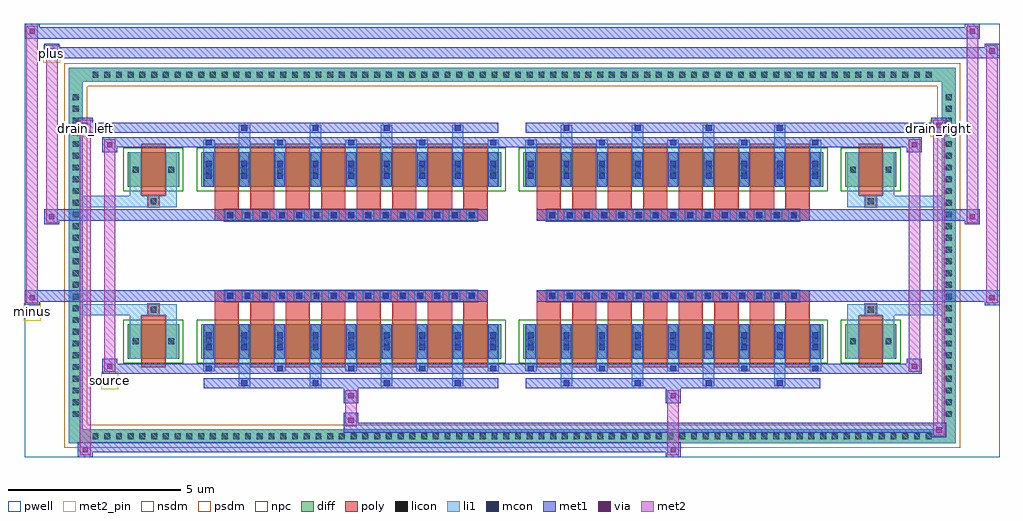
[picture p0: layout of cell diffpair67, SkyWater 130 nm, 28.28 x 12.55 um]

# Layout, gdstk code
import gdstk
lib = gdstk.Library(unit=1e-6, precision=5e-09)
def R(c, l, rs):  # rectangles x0, y0, x1, y1
    for r in rs: c.add(gdstk.rectangle(r[:2], r[2:], *l))
def A(c, l, x, y, w, h, nx, ny, dx, dy):  # array of equal rectangles
    R(c, l, [(x+i*dx, y+j*dy, x+i*dx+w, y+j*dy+h) for i in range(nx) for j in range(ny)])
def P(c, l, *ps):  # polygons
    for p in ps: c.add(gdstk.Polygon(p, *l))
pwell = (64, 44)
diff = (65, 20)
poly = (66, 20)
licon = (66, 44)
li1 = (67, 20)
mcon = (67, 44)
met1 = (68, 20)
via = (68, 44)
met2_pin = (69, 16)
met2 = (69, 20)
nsdm = (93, 44)
psdm = (94, 20)
npc = (95, 20)

diffpair67 = lib.new_cell('diffpair67')
R(diffpair67, pwell, [(-14.12,-5.84,14.12,6.71), (-11.44,-4.03,-0.01,-0.805), (0.01,-4.03,11.44,-0.805), (-11.44,0.805,-0.01,4.03), (0.01,0.805,11.44,4.03)])
A(diffpair67, diff, -12.275, -5.44, 0.41, 0.41, 72, 2, 0.34, 10.47)
A(diffpair67, diff, -12.85, -4.795, 0.41, 0.41, 1, 28, 0, 0.34)
A(diffpair67, diff, 12.44, -4.795, 0.41, 0.41, 1, 28, 0, 0.34)
R(diffpair67, diff, [(-12.275,-5.44,12.275,-5.03), (-12.85,-4.795,-12.44,4.795), (12.44,-4.795,12.85,4.795), (-11.13,-2.985,-9.65,-1.985), (-9.01,-2.985,-0.32,-1.985), (0.32,-2.985,9.01,-1.985), (9.65,-2.985,11.13,-1.985), (-11.13,1.985,-9.65,2.985), (-9.01,1.985,-0.32,2.985), (0.32,1.985,9.01,2.985), (9.65,1.985,11.13,2.985), (-12.275,5.03,12.275,5.44)])
P(diffpair67, diff, [(12.85,5.44),(-12.85,5.44),(-12.85,-5.03),(-12.44,-5.03),(-12.44,5.03),(12.44,5.03),(12.44,-5.03),(-12.44,-5.03),(-12.85,-5.03),(-12.85,-5.44),(12.85,-5.44)])
A(diffpair67, poly, -8.62, -3.235, 0.7, 1.5, 8, 2, 1.03, 4.97)
A(diffpair67, poly, 0.71, -3.235, 0.7, 1.5, 8, 2, 1.03, 4.97)
A(diffpair67, poly, -8.62, -1.735, 0.7, 0.4, 8, 2, 1.03, 3.07)
A(diffpair67, poly, 0.71, -1.735, 0.7, 0.4, 8, 2, 1.03, 3.07)
A(diffpair67, poly, -8.33, -1.335, 0.33, 0.33, 15, 2, 0.5, 2.34)
A(diffpair67, poly, 1, -1.335, 0.33, 0.33, 15, 2, 0.5, 2.34)
R(diffpair67, poly, [(-10.74,-3.235,-10.04,-1.735), (10.04,-3.235,10.74,-1.735), (-10.555,-1.735,-10.225,-1.405), (-10.555,-1.735,-10.225,-1.405), (10.225,-1.735,10.555,-1.405), (10.225,-1.735,10.555,-1.405), (-8.62,-1.335,-0.71,-1.005), (0.71,-1.335,8.62,-1.005), (-8.62,1.005,-0.71,1.335), (0.71,1.005,8.62,1.335), (-10.555,1.405,-10.225,1.735), (-10.555,1.405,-10.225,1.735), (10.225,1.405,10.555,1.735), (10.225,1.405,10.555,1.735), (-10.74,1.735,-10.04,3.235), (10.04,1.735,10.74,3.235)])
A(diffpair67, licon, -12.155, -5.32, 0.17, 0.17, 72, 2, 0.34, 10.47)
A(diffpair67, licon, -12.73, -4.675, 0.17, 0.17, 1, 28, 0, 0.34)
A(diffpair67, licon, 12.56, -4.675, 0.17, 0.17, 1, 28, 0, 0.34)
A(diffpair67, licon, -8.87, -2.57, 0.17, 0.17, 9, 2, 1.03, 4.97)
A(diffpair67, licon, 0.46, -2.57, 0.17, 0.17, 9, 2, 1.03, 4.97)
A(diffpair67, licon, -8.25, -1.255, 0.17, 0.17, 15, 2, 0.5, 2.34)
A(diffpair67, licon, 1.08, -1.255, 0.17, 0.17, 15, 2, 0.5, 2.34)
R(diffpair67, licon, [(-10.99,-2.57,-10.82,-2.4), (-9.96,-2.57,-9.79,-2.4), (9.79,-2.57,9.96,-2.4), (10.82,-2.57,10.99,-2.4), (-10.475,-1.655,-10.305,-1.485), (10.305,-1.655,10.475,-1.485), (-10.475,1.485,-10.305,1.655), (10.305,1.485,10.475,1.655), (-10.99,2.4,-10.82,2.57), (-9.96,2.4,-9.79,2.57), (9.79,2.4,9.96,2.57), (10.82,2.4,10.99,2.57)])
A(diffpair67, li1, -12.235, -5.4, 0.33, 0.33, 72, 2, 0.34, 10.47)
A(diffpair67, li1, -12.81, -4.755, 0.33, 0.33, 1, 28, 0, 0.34)
A(diffpair67, li1, 12.48, -4.755, 0.33, 0.33, 1, 28, 0, 0.34)
A(diffpair67, li1, -7.92, -3.79, 0.33, 0.805, 4, 2, 2.06, 6.775)
A(diffpair67, li1, -7.84, -3.79, 0.17, 0.17, 4, 2, 2.06, 7.41)
A(diffpair67, li1, 1.41, -3.79, 0.33, 0.805, 4, 2, 2.06, 6.775)
A(diffpair67, li1, 1.49, -3.79, 0.17, 0.17, 4, 2, 2.06, 7.41)
A(diffpair67, li1, -8.95, -3.36, 0.33, 0.375, 5, 2, 2.06, 6.345)
A(diffpair67, li1, -8.87, -3.36, 0.17, 0.17, 5, 2, 2.06, 6.55)
A(diffpair67, li1, 0.38, -3.36, 0.33, 0.375, 5, 2, 2.06, 6.345)
A(diffpair67, li1, 0.46, -3.36, 0.17, 0.17, 5, 2, 2.06, 6.55)
A(diffpair67, li1, -8.95, -2.985, 0.33, 1, 9, 2, 1.03, 4.97)
A(diffpair67, li1, 0.38, -2.985, 0.33, 1, 9, 2, 1.03, 4.97)
A(diffpair67, li1, -8.87, -2.75, 0.17, 0.17, 9, 2, 1.03, 0.36)
A(diffpair67, li1, -8.87, -2.75, 0.17, 0.53, 9, 2, 1.03, 4.97)
A(diffpair67, li1, 0.46, -2.75, 0.17, 0.17, 9, 2, 1.03, 0.36)
A(diffpair67, li1, 0.46, -2.75, 0.17, 0.53, 9, 2, 1.03, 4.97)
A(diffpair67, li1, -8.95, -2.65, 0.33, 0.33, 9, 2, 1.03, 4.97)
A(diffpair67, li1, 0.38, -2.65, 0.33, 0.33, 9, 2, 1.03, 4.97)
A(diffpair67, li1, -8.33, -1.335, 0.33, 0.33, 15, 2, 0.5, 2.34)
A(diffpair67, li1, 1, -1.335, 0.33, 0.33, 15, 2, 0.5, 2.34)
A(diffpair67, li1, -8.87, 2.22, 0.17, 0.17, 9, 2, 1.03, 0.36)
A(diffpair67, li1, 0.46, 2.22, 0.17, 0.17, 9, 2, 1.03, 0.36)
R(diffpair67, li1, [(-12.85,-5.44,-12.44,-5.03), (-12.85,-5.44,-12.44,-5.03), (-12.44,-5.44,12.44,-5.03), (12.44,-5.44,12.85,-5.03), (12.44,-5.44,12.85,-5.03), (-12.85,-5.03,-12.44,5.03), (12.44,-5.03,12.85,5.03), (-11.07,-2.985,-10.74,-1.985), (-10.04,-2.985,-9.71,-1.985), (9.71,-2.985,10.04,-1.985), (10.74,-2.985,11.07,-1.985), (-11.07,-2.65,-10.74,-2.32), (-10.04,-2.65,-9.71,-2.32), (9.71,-2.65,10.04,-2.32), (10.74,-2.65,11.07,-2.32), (-11.07,-1.985,-10.74,-1.405), (-10.04,-1.985,-9.71,-1.405), (9.71,-1.985,10.04,-1.405), (10.74,-1.985,11.07,-1.405), (-12.85,-1.735,-10.555,-1.405), (-11.07,-1.735,-10.555,-1.405), (-10.555,-1.735,-10.225,-1.405), (-10.225,-1.735,-9.71,-1.405), (9.71,-1.735,10.225,-1.405), (10.225,-1.735,10.555,-1.405), (10.225,-1.735,12.85,-1.405), (10.555,-1.735,11.07,-1.405), (-12.85,1.405,-10.555,1.735), (-11.07,1.405,-10.555,1.735), (-11.07,1.405,-10.74,1.985), (-10.555,1.405,-10.225,1.735), (-10.225,1.405,-9.71,1.735), (-10.04,1.405,-9.71,1.985), (9.71,1.405,10.225,1.735), (9.71,1.405,10.04,1.985), (10.225,1.405,10.555,1.735), (10.225,1.405,12.85,1.735), (10.555,1.405,11.07,1.735), (10.74,1.405,11.07,1.985), (-11.07,1.985,-10.74,2.985), (-10.04,1.985,-9.71,2.985), (9.71,1.985,10.04,2.985), (10.74,1.985,11.07,2.985), (-11.07,2.32,-10.74,2.65), (-10.04,2.32,-9.71,2.65), (9.71,2.32,10.04,2.65), (10.74,2.32,11.07,2.65), (-12.85,5.03,-12.44,5.44), (-12.85,5.03,-12.44,5.44), (-12.44,5.03,12.44,5.44), (12.44,5.03,12.85,5.44), (12.44,5.03,12.85,5.44)])
A(diffpair67, mcon, -7.84, -3.79, 0.17, 0.17, 4, 2, 2.06, 7.41)
A(diffpair67, mcon, 1.49, -3.79, 0.17, 0.17, 4, 2, 2.06, 7.41)
A(diffpair67, mcon, -8.87, -3.36, 0.17, 0.17, 5, 2, 2.06, 6.55)
A(diffpair67, mcon, 0.46, -3.36, 0.17, 0.17, 5, 2, 2.06, 6.55)
A(diffpair67, mcon, -8.87, -2.75, 0.17, 0.17, 9, 2, 1.03, 0.36)
A(diffpair67, mcon, 0.46, -2.75, 0.17, 0.17, 9, 2, 1.03, 0.36)
A(diffpair67, mcon, -8.25, -1.255, 0.17, 0.17, 15, 2, 0.5, 2.34)
A(diffpair67, mcon, 1.08, -1.255, 0.17, 0.17, 15, 2, 0.5, 2.34)
A(diffpair67, mcon, -8.87, 2.22, 0.17, 0.17, 9, 2, 1.03, 0.36)
A(diffpair67, mcon, 0.46, 2.22, 0.17, 0.17, 9, 2, 1.03, 0.36)
A(diffpair67, met1, -7.9, -3.85, 0.29, 0.29, 4, 2, 2.06, 7.41)
A(diffpair67, met1, 1.43, -3.85, 0.29, 0.29, 4, 2, 2.06, 7.41)
A(diffpair67, met1, -8.93, -3.42, 0.29, 0.29, 5, 2, 2.06, 6.55)
A(diffpair67, met1, 0.4, -3.42, 0.29, 0.29, 5, 2, 2.06, 6.55)
A(diffpair67, met1, -8.93, -2.985, 0.29, 1, 9, 2, 1.03, 4.97)
A(diffpair67, met1, 0.4, -2.985, 0.29, 1, 9, 2, 1.03, 4.97)
A(diffpair67, met1, -8.93, -2.81, 0.29, 0.29, 9, 2, 1.03, 0.36)
A(diffpair67, met1, 0.4, -2.81, 0.29, 0.29, 9, 2, 1.03, 0.36)
A(diffpair67, met1, -8.31, -1.315, 0.29, 0.29, 15, 2, 0.5, 2.34)
A(diffpair67, met1, 1.02, -1.315, 0.29, 0.29, 15, 2, 0.5, 2.34)
A(diffpair67, met1, -8.93, 2.16, 0.29, 0.29, 9, 2, 1.03, 0.36)
A(diffpair67, met1, 0.4, 2.16, 0.29, 0.29, 9, 2, 1.03, 0.36)
R(diffpair67, met1, [(-12.58,-5.84,-12.15,-5.41), (4.45,-5.84,4.88,-5.41), (-12.58,-5.7,4.88,-5.41), (12.15,-5.27,12.58,-4.84), (-4.88,-5.13,12.58,-4.84), (-4.88,-4.99,-4.45,-4.56), (-4.88,-4.28,-4.45,-3.85), (4.45,-4.28,4.88,-3.85), (-8.93,-3.85,-0.4,-3.56), (0.4,-3.85,8.93,-3.56), (-11.87,-3.42,-11.44,-2.99), (-11.87,-3.42,-8.93,-3.13), (-8.93,-3.42,-0.4,-3.13), (-0.4,-3.42,0.4,-3.13), (0.4,-3.42,8.93,-3.13), (8.93,-3.42,11.87,-3.13), (11.44,-3.42,11.87,-2.99), (-14.12,-1.435,-13.69,-1.005), (13.69,-1.435,14.12,-1.005), (-14.12,-1.335,-0.71,-1.005), (-8.62,-1.335,-0.71,-1.005), (0.71,-1.335,8.62,-1.005), (0.71,-1.335,14.12,-1.005), (-13.55,0.905,-13.12,1.335), (13.12,0.905,13.55,1.335), (-13.55,1.005,-8.62,1.335), (-8.62,1.005,-0.71,1.335), (0.71,1.005,8.62,1.335), (8.62,1.005,13.55,1.335), (-11.87,2.99,-11.44,3.42), (11.44,2.99,11.87,3.42), (-11.87,3.13,-8.93,3.42), (-8.93,3.13,-0.4,3.42), (-0.4,3.13,0.4,3.42), (0.4,3.13,8.93,3.42), (8.93,3.13,11.87,3.42), (-12.58,3.56,-12.15,3.99), (-12.58,3.56,-8.93,3.85), (-8.93,3.56,-0.4,3.85), (0.4,3.56,8.93,3.85), (8.93,3.56,12.58,3.85), (12.15,3.56,12.58,3.99), (-13.55,5.71,-13.12,6.14), (-13.55,5.71,-11.44,6.04), (-11.44,5.71,11.44,6.04), (11.44,5.71,14.12,6.04), (13.69,5.71,14.12,6.14), (-14.12,6.28,-13.69,6.71), (-14.12,6.28,-11.44,6.61), (-11.44,6.28,11.44,6.61), (11.44,6.28,13.55,6.61), (13.12,6.28,13.55,6.71)])
R(diffpair67, via, [(-12.44,-5.7,-12.29,-5.55), (4.59,-5.7,4.74,-5.55), (12.29,-5.13,12.44,-4.98), (-4.74,-4.85,-4.59,-4.7), (-4.74,-4.14,-4.59,-3.99), (4.59,-4.14,4.74,-3.99), (-11.73,-3.28,-11.58,-3.13), (11.58,-3.28,11.73,-3.13), (-13.98,-1.295,-13.83,-1.145), (13.83,-1.295,13.98,-1.145), (-13.41,1.045,-13.26,1.195), (13.26,1.045,13.41,1.195), (-11.73,3.13,-11.58,3.28), (11.58,3.13,11.73,3.28), (-12.44,3.7,-12.29,3.85), (12.29,3.7,12.44,3.85), (-13.41,5.85,-13.26,6), (13.83,5.85,13.98,6), (-13.98,6.42,-13.83,6.57), (13.26,6.42,13.41,6.57)])
R(diffpair67, met2_pin, [(-11.905,-3.87,-11.405,-3.37), (-14.155,-1.885,-13.655,-1.385), (-12.615,3.44,-12.115,3.94), (12.115,3.44,12.615,3.94), (-13.585,5.59,-13.085,6.09)])
R(diffpair67, met2, [(-12.53,-5.79,-12.2,-5.46), (-12.53,-5.79,-12.2,3.94), (4.5,-5.79,4.83,-5.46), (4.5,-5.46,4.83,-4.23), (12.2,-5.22,12.53,-4.89), (12.2,-5.22,12.53,3.94), (-4.83,-4.94,-4.5,-4.61), (-4.83,-4.61,-4.5,-4.23), (-4.83,-4.23,-4.5,-3.9), (4.5,-4.23,4.83,-3.9), (-11.82,-3.37,-11.49,-3.04), (-11.82,-3.37,-11.49,3.37), (11.49,-3.37,11.82,-3.04), (11.49,-3.37,11.82,3.37), (-14.07,-1.385,-13.74,-1.055), (-14.07,-1.385,-13.74,6.66), (13.74,-1.385,14.07,-1.055), (13.74,-1.385,14.07,6.09), (-13.5,0.955,-13.17,1.285), (-13.5,0.955,-13.17,6.09), (13.17,0.955,13.5,1.285), (13.17,0.955,13.5,6.66), (-11.82,3.04,-11.49,3.37), (11.49,3.04,11.82,3.37), (-12.53,3.61,-12.2,3.94), (12.2,3.61,12.53,3.94), (-13.5,5.76,-13.17,6.09), (13.74,5.76,14.07,6.09), (-14.07,6.33,-13.74,6.66), (13.17,6.33,13.5,6.66)])
P(diffpair67, met2, [(14.07,-1.385),(14.07,-1.385),(14.07,-1.055),(14.07,-1.055)],
  [(14.07,5.76),(14.07,5.76),(14.07,6.09),(14.07,6.09)],
  [(-13.74,-1.385),(-13.74,-1.385),(-13.74,-1.055),(-13.74,-1.055)],
  [(-13.74,6.33),(-13.74,6.33),(-13.74,6.66),(-13.74,6.66)],
  [(13.5,0.955),(13.5,0.955),(13.5,1.285),(13.5,1.285)],
  [(13.5,6.33),(13.5,6.33),(13.5,6.66),(13.5,6.66)],
  [(-13.17,0.955),(-13.17,0.955),(-13.17,1.285),(-13.17,1.285)],
  [(-13.17,5.76),(-13.17,5.76),(-13.17,6.09),(-13.17,6.09)],
  [(-12.2,-5.79),(-12.2,-5.79),(-12.2,-5.46),(-12.2,-5.46)],
  [(-12.2,3.61),(-12.2,3.61),(-12.2,3.94),(-12.2,3.94)],
  [(12.53,-5.22),(12.53,-5.22),(12.53,-4.89),(12.53,-4.89)],
  [(12.53,3.61),(12.53,3.61),(12.53,3.94),(12.53,3.94)],
  [(-11.49,-3.37),(-11.49,-3.37),(-11.49,-3.04),(-11.49,-3.04)],
  [(-11.49,3.04),(-11.49,3.04),(-11.49,3.37),(-11.49,3.37)],
  [(11.82,-3.37),(11.82,-3.37),(11.82,-3.04),(11.82,-3.04)],
  [(11.82,3.04),(11.82,3.04),(11.82,3.37),(11.82,3.37)])
R(diffpair67, nsdm, [(-11.26,-3.115,-9.52,-1.855), (-9.14,-3.115,-0.19,-1.855), (0.19,-3.115,9.14,-1.855), (9.52,-3.115,11.26,-1.855), (-11.26,1.855,-9.52,3.115), (-9.14,1.855,-0.19,3.115), (0.19,1.855,9.14,3.115), (9.52,1.855,11.26,3.115)])
P(diffpair67, psdm, [(12.98,5.57),(-12.98,5.57),(-12.98,-4.9),(-12.31,-4.9),(-12.31,4.9),(12.31,4.9),(12.31,-4.9),(-12.31,-4.9),(-12.98,-4.9),(-12.98,-5.57),(12.98,-5.57)])
A(diffpair67, npc, -8.35, -1.355, 0.37, 0.37, 15, 2, 0.5, 2.34)
A(diffpair67, npc, 0.98, -1.355, 0.37, 0.37, 15, 2, 0.5, 2.34)
R(diffpair67, npc, [(-10.575,-1.755,-10.205,-1.385), (10.205,-1.755,10.575,-1.385), (-8.35,-1.355,-7.48,-0.985), (-8.35,-1.355,-7.48,-0.985), (-7.85,-1.355,-6.98,-0.985), (-7.85,-1.355,-6.98,-0.985), (-7.35,-1.355,-6.48,-0.985), (-7.35,-1.355,-6.48,-0.985), (-6.85,-1.355,-5.98,-0.985), (-6.85,-1.355,-5.98,-0.985), (-6.35,-1.355,-5.48,-0.985), (-6.35,-1.355,-5.48,-0.985), (-5.85,-1.355,-4.98,-0.985), (-5.85,-1.355,-4.98,-0.985), (-5.35,-1.355,-4.48,-0.985), (-5.35,-1.355,-4.48,-0.985), (-4.85,-1.355,-3.98,-0.985), (-4.85,-1.355,-3.98,-0.985), (-4.35,-1.355,-3.48,-0.985), (-4.35,-1.355,-3.48,-0.985), (-3.85,-1.355,-2.98,-0.985), (-3.85,-1.355,-2.98,-0.985), (-3.35,-1.355,-2.48,-0.985), (-3.35,-1.355,-2.48,-0.985), (-2.85,-1.355,-1.98,-0.985), (-2.85,-1.355,-1.98,-0.985), (-2.35,-1.355,-1.48,-0.985), (-2.35,-1.355,-1.48,-0.985), (-1.85,-1.355,-0.98,-0.985), (-1.85,-1.355,-0.98,-0.985), (0.98,-1.355,1.85,-0.985), (0.98,-1.355,1.85,-0.985), (1.48,-1.355,2.35,-0.985), (1.48,-1.355,2.35,-0.985), (1.98,-1.355,2.85,-0.985), (1.98,-1.355,2.85,-0.985), (2.48,-1.355,3.35,-0.985), (2.48,-1.355,3.35,-0.985), (2.98,-1.355,3.85,-0.985), (2.98,-1.355,3.85,-0.985), (3.48,-1.355,4.35,-0.985), (3.48,-1.355,4.35,-0.985), (3.98,-1.355,4.85,-0.985), (3.98,-1.355,4.85,-0.985), (4.48,-1.355,5.35,-0.985), (4.48,-1.355,5.35,-0.985), (4.98,-1.355,5.85,-0.985), (4.98,-1.355,5.85,-0.985), (5.48,-1.355,6.35,-0.985), (5.48,-1.355,6.35,-0.985), (5.98,-1.355,6.85,-0.985), (5.98,-1.355,6.85,-0.985), (6.48,-1.355,7.35,-0.985), (6.48,-1.355,7.35,-0.985), (6.98,-1.355,7.85,-0.985), (6.98,-1.355,7.85,-0.985), (7.48,-1.355,8.35,-0.985), (7.48,-1.355,8.35,-0.985), (-8.35,0.985,-7.48,1.355), (-8.35,0.985,-7.48,1.355), (-7.85,0.985,-6.98,1.355), (-7.85,0.985,-6.98,1.355), (-7.35,0.985,-6.48,1.355), (-7.35,0.985,-6.48,1.355), (-6.85,0.985,-5.98,1.355), (-6.85,0.985,-5.98,1.355), (-6.35,0.985,-5.48,1.355), (-6.35,0.985,-5.48,1.355), (-5.85,0.985,-4.98,1.355), (-5.85,0.985,-4.98,1.355), (-5.35,0.985,-4.48,1.355), (-5.35,0.985,-4.48,1.355), (-4.85,0.985,-3.98,1.355), (-4.85,0.985,-3.98,1.355), (-4.35,0.985,-3.48,1.355), (-4.35,0.985,-3.48,1.355), (-3.85,0.985,-2.98,1.355), (-3.85,0.985,-2.98,1.355), (-3.35,0.985,-2.48,1.355), (-3.35,0.985,-2.48,1.355), (-2.85,0.985,-1.98,1.355), (-2.85,0.985,-1.98,1.355), (-2.35,0.985,-1.48,1.355), (-2.35,0.985,-1.48,1.355), (-1.85,0.985,-0.98,1.355), (-1.85,0.985,-0.98,1.355), (0.98,0.985,1.85,1.355), (0.98,0.985,1.85,1.355), (1.48,0.985,2.35,1.355), (1.48,0.985,2.35,1.355), (1.98,0.985,2.85,1.355), (1.98,0.985,2.85,1.355), (2.48,0.985,3.35,1.355), (2.48,0.985,3.35,1.355), (2.98,0.985,3.85,1.355), (2.98,0.985,3.85,1.355), (3.48,0.985,4.35,1.355), (3.48,0.985,4.35,1.355), (3.98,0.985,4.85,1.355), (3.98,0.985,4.85,1.355), (4.48,0.985,5.35,1.355), (4.48,0.985,5.35,1.355), (4.98,0.985,5.85,1.355), (4.98,0.985,5.85,1.355), (5.48,0.985,6.35,1.355), (5.48,0.985,6.35,1.355), (5.98,0.985,6.85,1.355), (5.98,0.985,6.85,1.355), (6.48,0.985,7.35,1.355), (6.48,0.985,7.35,1.355), (6.98,0.985,7.85,1.355), (6.98,0.985,7.85,1.355), (7.48,0.985,8.35,1.355), (7.48,0.985,8.35,1.355), (-10.575,1.385,-10.205,1.755), (10.205,1.385,10.575,1.755)])
diffpair67.add(gdstk.Label('minus', (-13.905,-1.635), layer=69, texttype=5))
diffpair67.add(gdstk.Label('drain_right', (12.365,3.69), layer=69, texttype=5))
diffpair67.add(gdstk.Label('drain_left', (-12.365,3.69), layer=69, texttype=5))
diffpair67.add(gdstk.Label('source', (-11.655,-3.62), layer=69, texttype=5))
diffpair67.add(gdstk.Label('plus', (-13.335,5.84), layer=69, texttype=5))

lib.write_gds('diffpair67.gds')
